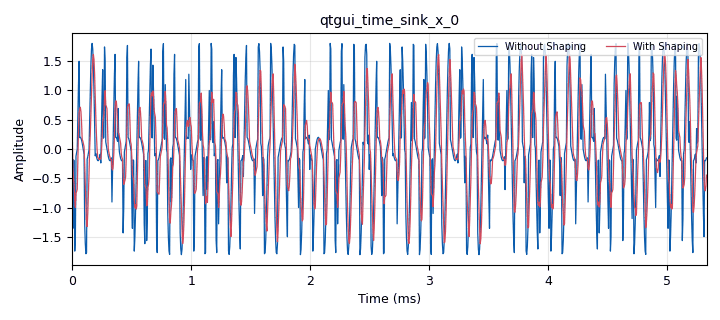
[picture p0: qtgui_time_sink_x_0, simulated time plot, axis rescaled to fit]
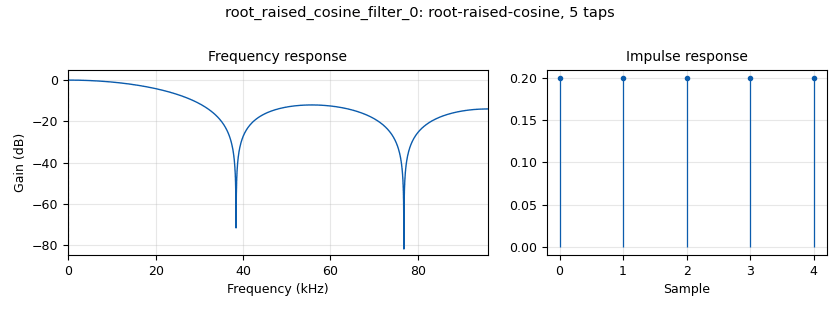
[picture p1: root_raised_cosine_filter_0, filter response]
options:
  parameters:
    generate_options: qt_gui
    id: lab5_1
    output_language: python
    title: Not titled yet
  states: {}

blocks:
- name: amplitude
  id: variable
  parameters:
    value: '1'
  states: {}
- name: c_freq
  id: variable
  parameters:
    value: '10000'
  states: {}
- name: input_byte
  id: variable_qtgui_range
  parameters:
    rangeType: int
    start: '0'
    step: '1'
    stop: '2'
    value: '0'
  states: {state: disabled}
- name: mod_index
  id: variable
  parameters:
    value: '0.8'
  states: {}
- name: samp_rate
  id: variable
  parameters:
    value: '192000'
  states: {}
- name: taps
  id: variable_qtgui_range
  parameters:
    rangeType: int
    start: '0'
    step: '1'
    stop: '1000'
    value: '0'
  states: {state: disabled}
- name: analog_const_source_x_0
  id: analog_const_source_x
  parameters:
    const: input_byte
    type: byte
  states: {state: disabled}
- name: analog_random_source_x_0
  id: analog_random_source_x
  parameters:
    max: '2'
    min: '0'
    num_samps: '1000'
    repeat: 'True'
    type: byte
  states: {}
- name: analog_sig_source_x_0
  id: analog_sig_source_x
  parameters:
    amp: '1'
    comment: cos(2πfct)
    freq: c_freq
    offset: '0'
    phase: '0'
    samp_rate: samp_rate
    type: float
    waveform: analog.GR_COS_WAVE
  states: {}
- name: blocks_add_const_vxx_0
  id: blocks_add_const_vxx
  parameters:
    comment: 1+μx(t)
    const: '1'
    type: float
  states: {}
- name: blocks_char_to_float_0
  id: blocks_char_to_float
  parameters:
    scale: '1'
  states: {}
- name: blocks_multiply_const_vxx_0
  id: blocks_multiply_const_vxx
  parameters:
    comment: μx(t)
    const: mod_index
    type: float
  states: {}
- name: blocks_multiply_const_vxx_0_0
  id: blocks_multiply_const_vxx
  parameters:
    comment: A[1+μx(t)]
    const: amplitude
    type: float
  states: {}
- name: blocks_multiply_xx_0
  id: blocks_multiply_xx
  parameters:
    comment: A[1+μx(t)]cos(2πfct)
    type: float
  states: {}
- name: blocks_repeat_0
  id: blocks_repeat
  parameters:
    interp: '2'
    type: float
  states: {}
- name: blocks_throttle2_0
  id: blocks_throttle2
  parameters:
    samples_per_second: samp_rate
    type: float
  states: {}
- name: digital_map_bb_0
  id: digital_map_bb
  parameters:
    map: '[-1,1]'
  states: {}
- name: qtgui_time_sink_x_0
  id: qtgui_time_sink_x
  parameters:
    ctrlpanel: 'True'
    label1: Without Shaping
    label2: With Shaping
    nconnections: '2'
    size: '1024'
    srate: samp_rate
    type: float
  states: {}
- name: root_raised_cosine_filter_0
  id: root_raised_cosine_filter
  parameters:
    alpha: '0.35'
    decim: '1'
    gain: '1'
    ntaps: '5'
    samp_rate: samp_rate
    sym_rate: '1.0'
    type: fir_filter_fff
  states: {}

connections:
- [analog_const_source_x_0, '0', digital_map_bb_0, '0']
- [analog_random_source_x_0, '0', digital_map_bb_0, '0']
- [analog_sig_source_x_0, '0', blocks_throttle2_0, '0']
- [blocks_add_const_vxx_0, '0', blocks_multiply_const_vxx_0_0, '0']
- [blocks_char_to_float_0, '0', blocks_repeat_0, '0']
- [blocks_multiply_const_vxx_0, '0', blocks_add_const_vxx_0, '0']
- [blocks_multiply_const_vxx_0_0, '0', blocks_multiply_xx_0, '0']
- [blocks_multiply_xx_0, '0', qtgui_time_sink_x_0, '0']
- [blocks_multiply_xx_0, '0', root_raised_cosine_filter_0, '0']
- [blocks_repeat_0, '0', blocks_multiply_const_vxx_0, '0']
- [blocks_throttle2_0, '0', blocks_multiply_xx_0, '1']
- [digital_map_bb_0, '0', blocks_char_to_float_0, '0']
- [root_raised_cosine_filter_0, '0', qtgui_time_sink_x_0, '1']

metadata:
  file_format: 1
  grc_version: 3.10.7.0
